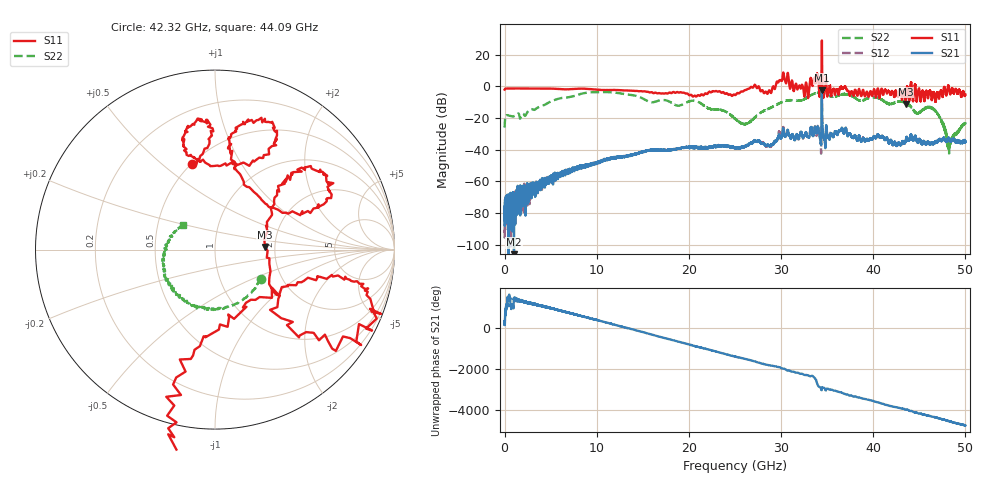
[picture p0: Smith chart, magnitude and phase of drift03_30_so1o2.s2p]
!Created with skrf (http://scikit-rf.org).
# Hz S RI R 50.0
!freq ReS11 ImS11 ReS21 ImS21 ReS12 ImS12 ReS22 ImS22
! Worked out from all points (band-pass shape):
!   10000 points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, 5.3 MHz to 50 GHz, reference 50 ohm
!   highest |S21| = -2.46 dB at 34.43 GHz (marker M1); lowest = -114.2 dB at 1.025 GHz (marker M2)
!   |S21| within 3 dB of the highest: 34.42761 GHz to 34.43493 GHz (7.319 MHz wide, 0.0213 % of centre)
!   lowest |S11| = -11.1 dB at 43.52 GHz (marker M3), VSWR 1.77, Z = 88.5 + j2.71 ohm
!   |S11| at or under -10 dB: 43.49216 GHz to 43.54087 GHz (48.71 MHz wide, 0.112 % of centre)
!   |S22| runs from -42.5 to -3.6 dB; largest |S21 - S12| = 0.24
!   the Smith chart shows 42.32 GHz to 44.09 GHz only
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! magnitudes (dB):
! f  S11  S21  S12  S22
! 5.3 MHz  -2.1  -78.1  -79.3  -26.0
! 1.025 GHz  -1.4  -114.2  -69.0  -18.9
! 2.945 GHz  -1.4  -66.0  -62.8  -14.4
! 8.34 GHz  -1.5  -50.8  -51.1  -4.7
! 16.67 GHz  -4.4  -40.4  -40.3  -9.1
! 20.72 GHz  -6.2  -38.4  -38.6  -9.3
! 25.01 GHz  -5.5  -38.6  -38.7  -20.5
! 26.23 GHz  -2.2  -37.3  -37.6  -23.7
! 27.37 GHz  -1.1  -35.0  -34.8  -18.5
! 28.72 GHz  -2.5  -37.7  -37.6  -14.0
! 30.14 GHz  4.4  -29.4  -29.5  -9.9
! 32.74 GHz  2.0  -29.6  -29.4  -7.4
! 33.34 GHz  2.5  -27.4  -27.8  -5.3
! 33.82 GHz  4.0  -29.0  -29.6  -4.4
! 34.43 GHz  29.0  -2.5  -4.5  -4.0
! 36.48 GHz  -0.3  -27.9  -28.0  -5.4
! 41.67 GHz  -3.1  -35.6  -35.5  -10.9
! 43.52 GHz  -11.1  -34.1  -34.4  -10.4
! 44.74 GHz  -8.9  -34.1  -34.7  -17.1
! 46.66 GHz  -5.3  -35.8  -36.0  -15.0
! 48.24 GHz  -1.1  -33.6  -33.1  -42.5
! 50 GHz  -5.3  -35.0  -35.0  -23.3
